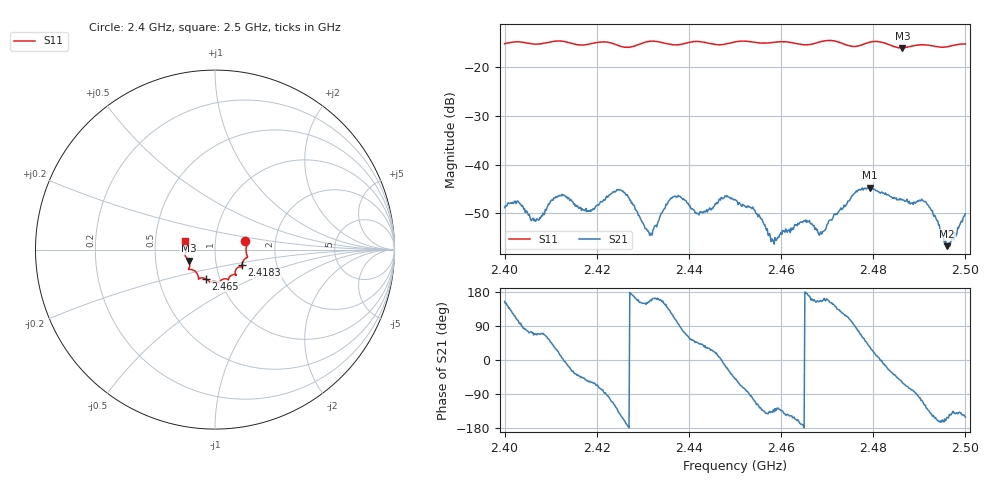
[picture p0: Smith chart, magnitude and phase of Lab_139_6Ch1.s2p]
# Hz S RI R 50
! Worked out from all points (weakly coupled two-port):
!   601 points, 2.4 GHz to 2.5 GHz, reference 50 ohm
!   highest |S21| = -44.71 dB at 2.4793 GHz (marker M1); lowest = -56.8 dB at 2.496 GHz (marker M2)
!   lowest |S11| = -16.0 dB at 2.4863 GHz (marker M3), VSWR 1.38, Z = 37 - j4.65 ohm
!   |S11| at or under -10 dB: start of sweep to end of sweep
!   S12 and S22 are empty: the file has one direction only
!   S11 on the Smith chart (normalised r, x): 2.4 GHz: 1.40, +0.13; 2.4183 GHz: 1.33, -0.24; 2.465 GHz: 0.86, -0.29; 2.5 GHz: 0.71, +0.07
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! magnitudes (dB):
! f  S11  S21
! 2.4 GHz  -15.1  -48.9
! 2.407 GHz  -15.2  -51.1
! 2.4125 GHz  -14.6  -46.1
! 2.4167 GHz  -15.4  -49.4
! 2.4183 GHz  -15.2  -49.5
! 2.4248 GHz  -15.6  -45.1
! 2.4315 GHz  -14.7  -54.6
! 2.4333 GHz  -14.7  -51.7
! 2.4367 GHz  -15.4  -46.6
! 2.4418 GHz  -14.7  -50.0
! 2.45 GHz  -14.8  -47.2
! 2.454 GHz  -14.8  -49.1
! 2.4583 GHz  -14.9  -55.5
! 2.465 GHz  -15.4  -51.5
! 2.4667 GHz  -15.2  -52.1
! 2.4688 GHz  -14.7  -54.3
! 2.4793 GHz  -14.8  -44.7
! 2.4833 GHz  -15.3  -46.3
! 2.4863 GHz  -16.0  -47.3
! 2.4915 GHz  -15.4  -47.8
! 2.496 GHz  -15.8  -56.8
! 2.5 GHz  -15.2  -50.1
